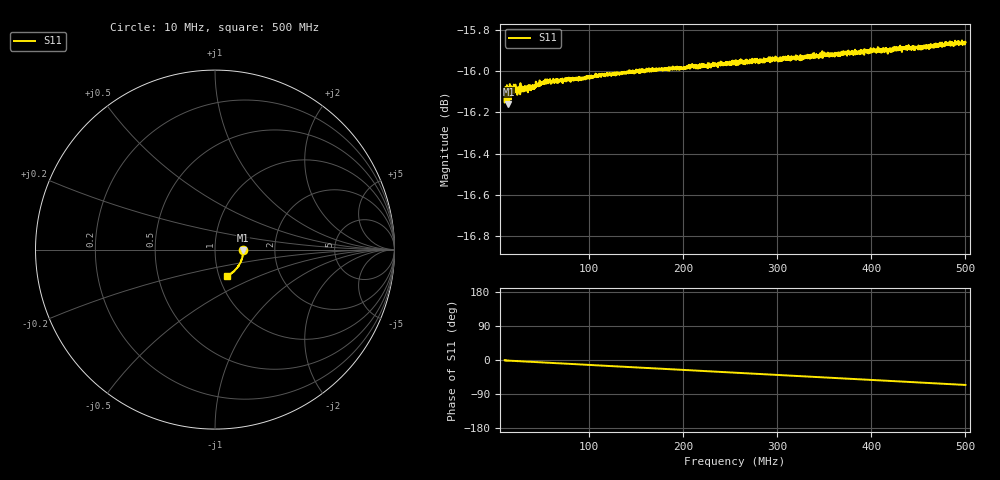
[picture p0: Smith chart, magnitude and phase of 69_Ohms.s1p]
!Keysight Technologies,N5242A,MY53222371,A.10.65.16
!Date: Tuesday, August 01, 2023 16:54:38
!Correction: S22(Full 1 Port(2))
!S1P File: Measurement: S22:
# Hz S  dB  R 50
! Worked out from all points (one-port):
!   3201 points, 10 MHz to 500 MHz, reference 50 ohm
!   lowest |S11| = -16.2 dB at 14.13 MHz (marker M1), VSWR 1.37, Z = 68.4 - j0.693 ohm
!   |S11| at or under -10 dB: start of sweep to end of sweep
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1e7  -16.08 -0.8
1.245e7  -16.07 -1.5
1.413438e7  -16.16 -1.8
1.597188e7  -16.10 -1.9
1.750312e7  -16.10 -2.1
2.424062e7  -16.09 -3.0
3.434688e7  -16.08 -4.3
5.547812e7  -16.05 -7.1
7.125e7  -16.04 -9.2
9.2075e7  -16.04 -11.9
1.086125e8  -16.02 -14.2
1.325e8  -16.01 -17.3
1.628188e8  -16.00 -21.3
1.9375e8  -15.99 -25.3
2.223844e8  -15.98 -29.1
2.55e8  -15.96 -33.5
2.817969e8  -15.95 -37.0
2.886875e8  -15.95 -38.0
3.1625e8  -15.93 -41.5
3.481e8  -15.92 -45.8
3.775e8  -15.91 -49.7
4.102688e8  -15.90 -54.0
4.197625e8  -15.90 -55.3
4.3875e8  -15.89 -57.8
4.529906e8  -15.89 -59.7
4.793281e8  -15.86 -63.1
4.96325e8  -15.85 -65.3
5e8  -15.86 -65.8
